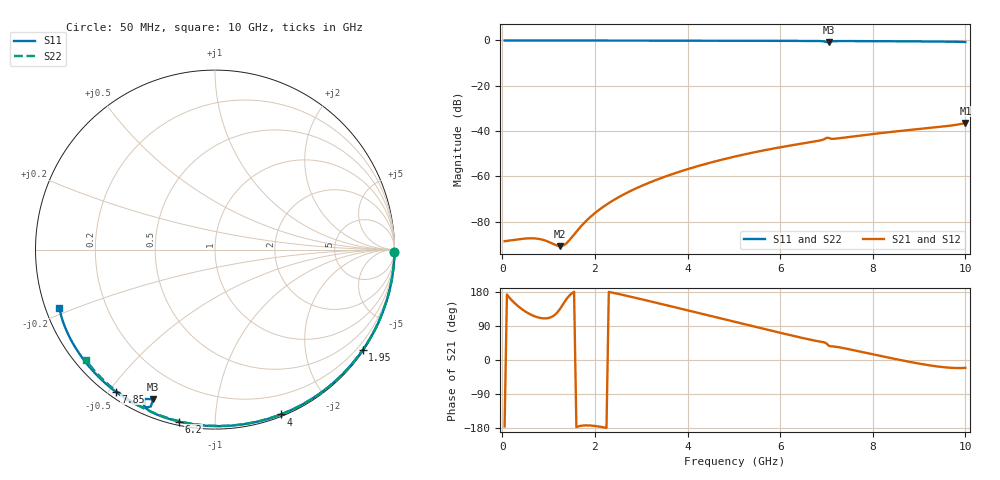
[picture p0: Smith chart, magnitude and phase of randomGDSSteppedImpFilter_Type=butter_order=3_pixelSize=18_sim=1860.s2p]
! freq	dB(S11)	phase(S11)	dB(S12)	phase(S12)
!  dB(S21)	phase(S21)	dB(S22)	phase(S22)
!S-par simulation data
#  GHz  S  DB  R 50
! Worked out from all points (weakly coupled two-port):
!   200 points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, 50 MHz to 10 GHz, reference 50 ohm
!   highest |S21| = -36.51 dB at 10 GHz (marker M1); lowest = -90.9 dB at 1.25 GHz (marker M2)
!   lowest |S11| = -0.9 dB at 7.05 GHz (marker M3), VSWR 19.33, Z = 3.74 - j33.3 ohm
!   |S11| at or under -10 dB: nowhere
!   |S22| runs from -0.5 to 0.0 dB; largest |S21 - S12| = 0
!   S11 on the Smith chart (normalised r, x): 50 MHz: open; 1.95 GHz: 0.03, -3.24; 4 GHz: 0.02, -1.48; 6.2 GHz: 0.02, -0.81; 7.85 GHz: 0.02, -0.52; 10 GHz: 0.04, -0.18
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0.05  -0.00 -0.9  -88.72 -175.3  -88.72 -175.3  -0.00 -0.8
1.25  -0.03 -22.2  -90.89 135.5  -90.89 135.5  -0.02 -20.0
1.75  -0.04 -30.9  -81.00 -172.9  -81.00 -172.9  -0.04 -27.9
1.8  -0.04 -31.7  -79.96 -172.6  -79.96 -172.6  -0.04 -28.7
1.95  -0.04 -34.3  -77.13 -173.4  -77.13 -173.4  -0.04 -31.0
2.25  -0.05 -39.4  -72.52 -179.1  -72.52 -179.1  -0.05 -35.6
2.55  -0.06 -44.5  -68.82 173.2  -68.82 173.2  -0.05 -40.2
2.95  -0.07 -51.2  -64.78 161.9  -64.78 161.9  -0.06 -46.3
3.4  -0.08 -58.6  -61.03 148.8  -61.03 148.8  -0.07 -53.0
4  -0.09 -68.2  -56.87 131.2  -56.87 131.2  -0.09 -61.8
5.05  -0.13 -84.6  -51.16 99.9  -51.16 99.9  -0.12 -76.6
6.2  -0.19 -101.8  -46.49 66.1  -46.49 66.1  -0.17 -92.1
6.7  -0.23 -109.5  -44.79 52.3  -44.79 52.3  -0.19 -98.6
6.95  -0.40 -114.5  -43.63 46.7  -43.63 46.7  -0.21 -101.8
7  -0.71 -115.4  -43.05 43.8  -43.05 43.8  -0.21 -102.5
7.05  -0.90 -112.4  -43.06 37.5  -43.06 37.5  -0.21 -103.1
7.1  -0.49 -112.3  -43.44 36.1  -43.44 36.1  -0.21 -103.8
7.15  -0.35 -113.6  -43.47 35.7  -43.47 35.7  -0.22 -104.4
7.85  -0.30 -125.0  -41.70 19.0  -41.70 19.0  -0.27 -113.2
8.35  -0.34 -132.3  -40.52 6.0  -40.52 6.0  -0.31 -119.4
9.3  -0.46 -146.7  -38.52 -15.5  -38.52 -15.5  -0.40 -131.0
10  -0.67 -159.5  -36.51 -20.7  -36.51 -20.7  -0.48 -139.6
